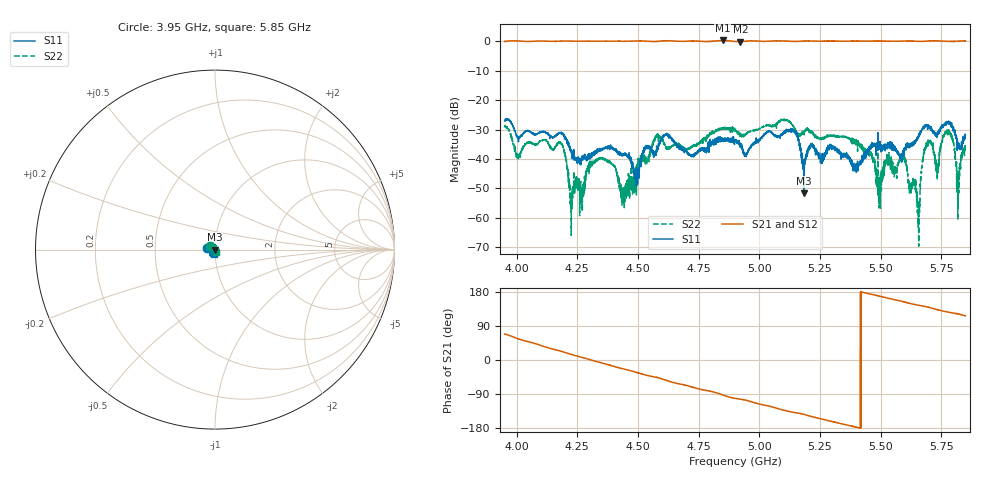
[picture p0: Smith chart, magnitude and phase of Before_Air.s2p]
# GHZ S RI R 50.000000000000
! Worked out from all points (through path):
!   4501 points, 3.95 GHz to 5.85 GHz, reference 50 ohm
!   highest |S21| = 0.31 dB at 4.85 GHz (marker M1); lowest = -0.1 dB at 4.922 GHz (marker M2)
!   group delay of S21, straight-line fit = 450 ps
!   lowest |S11| = -51.7 dB at 5.185 GHz (marker M3), VSWR 1.01, Z = 49.7 + j0.0503 ohm
!   |S11| at or under -10 dB: start of sweep to end of sweep
!   |S22| runs from -69.7 to -26.5 dB; largest |S21 - S12| = 0.021
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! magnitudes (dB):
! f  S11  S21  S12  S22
! 3.95 GHz  -27.1  0.0  0.0  -29.1
! 4.182 GHz  -31.1  0.1  0.1  -34.8
! 4.223 GHz  -36.8  0.1  0.1  -55.0
! 4.267 GHz  -40.1  0.1  0.1  -55.3
! 4.349 GHz  -36.7  0.1  0.1  -39.8
! 4.444 GHz  -38.0  0.0  0.0  -54.3
! 4.584 GHz  -36.0  0.0  0.0  -32.4
! 4.85 GHz  -34.0  0.3  0.3  -29.5
! 4.9 GHz  -34.1  0.0  0.1  -30.3
! 4.922 GHz  -36.0  -0.1  0.0  -32.4
! 5.137 GHz  -29.8  0.0  0.0  -28.4
! 5.185 GHz  -51.7  0.2  0.1  -31.8
! 5.217 GHz  -35.6  0.1  0.2  -31.2
! 5.405 GHz  -40.8  0.1  0.1  -37.4
! 5.494 GHz  -36.7  0.1  0.2  -55.1
! 5.534 GHz  -35.4  0.0  0.1  -41.8
! 5.655 GHz  -32.4  0.0  0.0  -63.1
! 5.694 GHz  -30.0  0.1  0.1  -35.7
! 5.733 GHz  -31.8  0.2  0.2  -43.3
! 5.783 GHz  -27.7  0.0  0.0  -31.1
! 5.821 GHz  -35.1  0.1  0.0  -50.8
! 5.85 GHz  -31.8  0.2  0.2  -36.3
